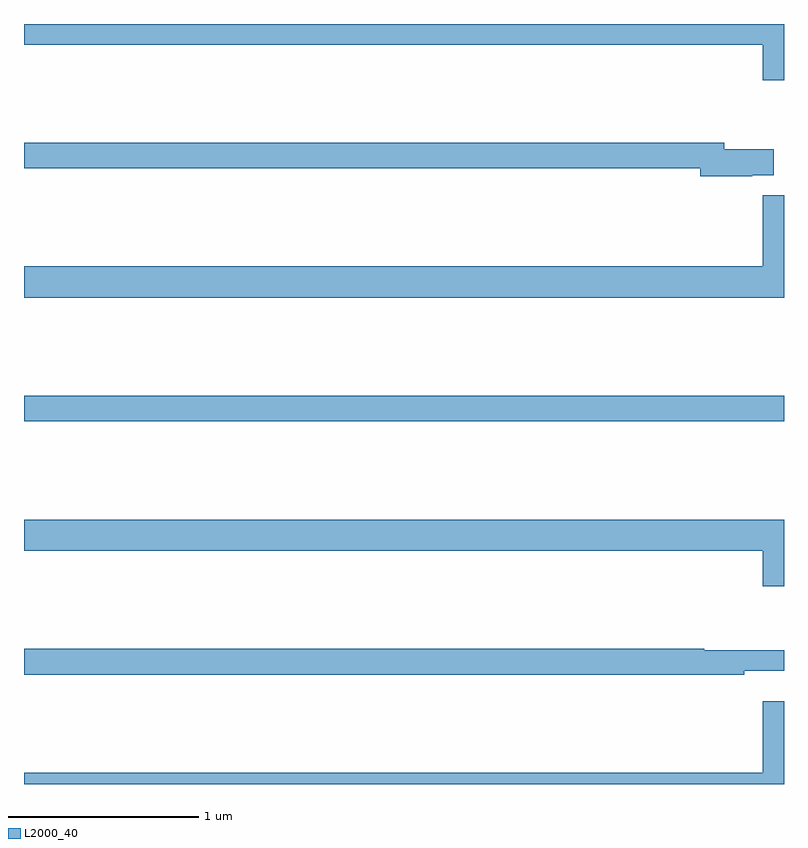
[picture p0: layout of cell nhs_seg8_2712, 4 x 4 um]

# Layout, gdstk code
import gdstk
lib = gdstk.Library(unit=1e-6, precision=1e-09)
def R(c, l, rs):  # rectangles x0, y0, x1, y1
    for r in rs: c.add(gdstk.rectangle(r[:2], r[2:], *l))
def P(c, l, *ps):  # polygons
    for p in ps: c.add(gdstk.Polygon(p, *l))
L2000_40 = (2000, 40)

nhs_seg8_2712 = lib.new_cell('nhs_seg8_2712')
R(nhs_seg8_2712, L2000_40, [(281,1155.808,285,1155.944)])
P(nhs_seg8_2712, L2000_40, [(285,1157.9),(281,1157.9),(281,1157.792),(284.888,1157.792),(284.888,1157.604),(285,1157.604)],
  [(284.834,1157.105),(284.947,1157.105),(284.947,1157.24),(284.686,1157.24),(284.686,1157.276),(281,1157.276),(281,1157.14),(284.558,1157.14),(284.558,1157.098),(284.834,1157.098)],
  [(285,1156.999),(284.888,1156.999),(284.888,1156.624),(281,1156.624),(281,1156.46),(285,1156.46)],
  [(285,1155.292),(281,1155.292),(281,1155.128),(284.888,1155.128),(284.888,1154.94),(285,1154.94)],
  [(284.792,1154.495),(285,1154.495),(285,1154.605),(284.579,1154.605),(284.579,1154.612),(281,1154.612),(281,1154.476),(284.792,1154.476)],
  [(285,1154.335),(284.888,1154.335),(284.888,1153.96),(281,1153.96),(281,1153.9),(285,1153.9)])

lib.write_gds('nhs_seg8_2712.gds')
